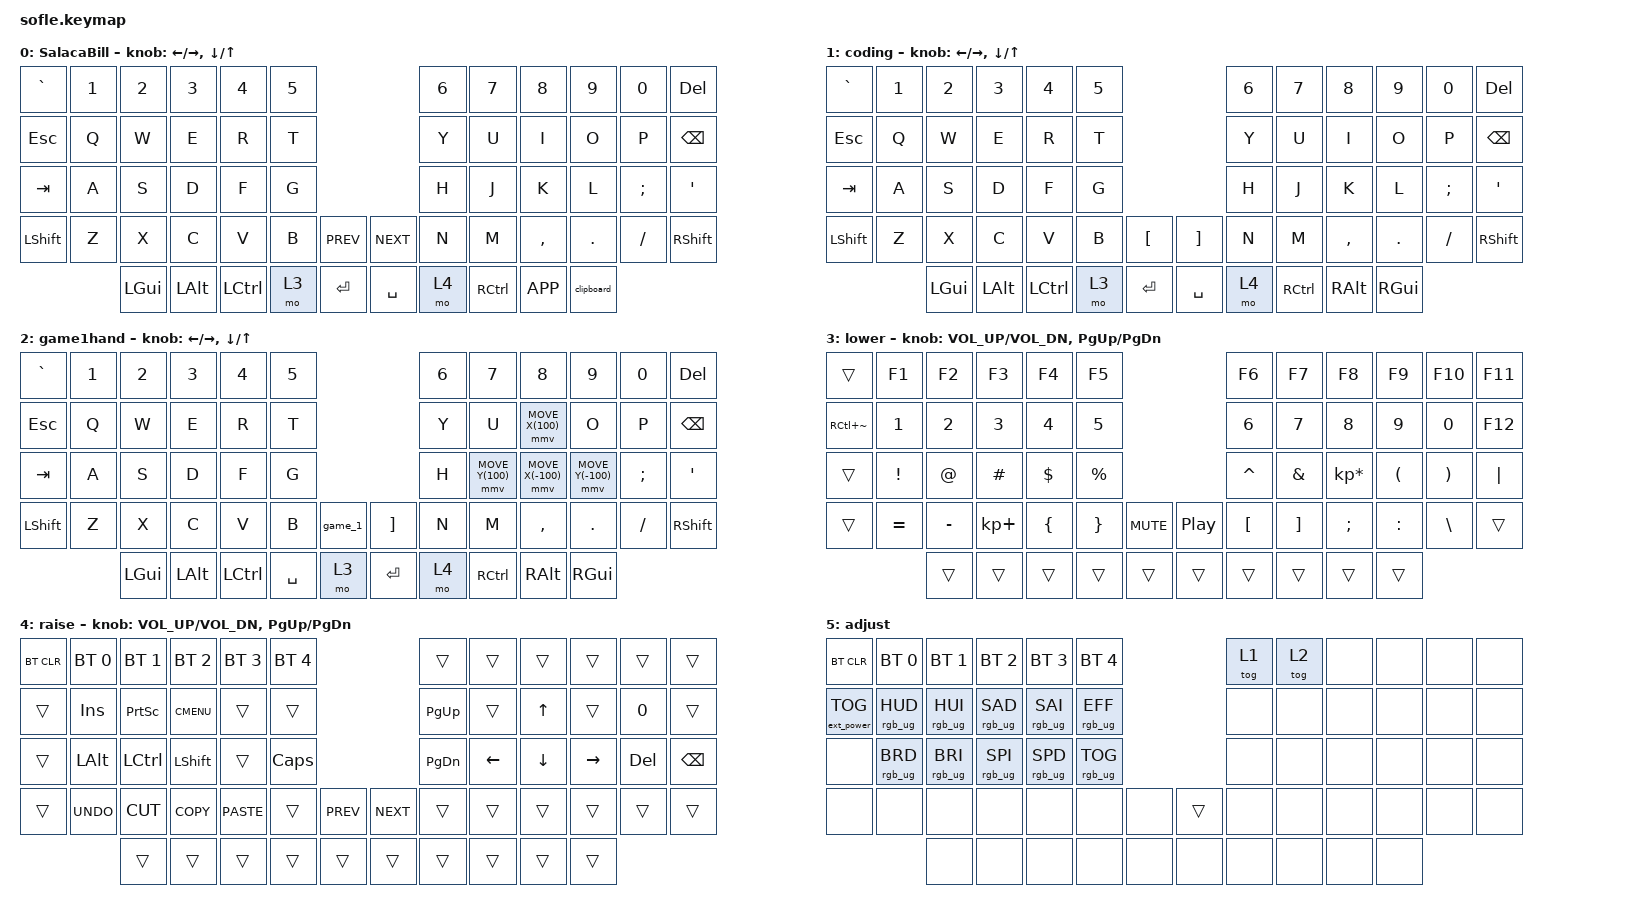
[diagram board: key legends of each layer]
/*
 * Copyright (c) 2020 The ZMK Contributors
 *
 * SPDX-License-Identifier: MIT
 */

#include <behaviors.dtsi>
#include <dt-bindings/zmk/bt.h>
#include <dt-bindings/zmk/ext_power.h>
#include <dt-bindings/zmk/keys.h>
#include <dt-bindings/zmk/pointing.h>
#include <dt-bindings/zmk/rgb.h>

#define BASE    0
#define LOWER   1
#define RAISE   2
#define ADJUST  3

&tog { toggle-mode = "flip"; };

/ {
    // Activate ADJUST layer by pressing raise and lower

    conditional_layers {
        compatible = "zmk,conditional-layers";

        adjust_layer {
            if-layers = <3 4>;
            then-layer = <5>;
        };
    };

    macros {
        game_1: game_1 {
            compatible = "zmk,behavior-macro";
            #binding-cells = <0>;
            bindings = <&kp ENTER &kp N &kp O &kp SPACE &kp A &kp G &kp E &kp ENTER>;
            label = "GAME_1";
        };

        clipboard: new_macro {
            compatible = "zmk,behavior-macro";
            #binding-cells = <0>;
            bindings = <&kp LG(V)>;
            label = "NEW_MACRO";
        };

        emote: emote {
            compatible = "zmk,behavior-macro";
            #binding-cells = <0>;
            bindings = <&kp LG(DOT)>;
            label = "EMOTE";
        };
    };

    combos {
        compatible = "zmk,combos";

        emote {
            bindings = <&emote>;
            key-positions = <36 59>;
            layers = <0>;
        };
    };

    keymap {
        compatible = "zmk,keymap";

        default_layer {
            label = "SalacaBill";

            // ------------------------------------------------------------------------------------------------------------
            // |   `   |  1  |  2  |  3   |  4   |  5   |                   |  6   |  7    |  8    |  9   |   0   |       |
            // |  ESC  |  Q  |  W  |  E   |  R   |  T   |                   |  Y   |  U    |  I    |  O   |   P   | BKSPC |
            // |  TAB  |  A  |  S  |  D   |  F   |  G   |                   |  H   |  J    |  K    |  L   |   ;   |   '   |
            // | SHIFT |  Z  |  X  |  C   |  V   |  B   |  MUTE  |  |       |  N   |  M    |  ,    |  .   |   /   | SHIFT |
            //               | GUI | ALT  | CTRL | LOWER|  ENTER |  | SPACE | RAISE| CTRL  | ALT   | GUI  |

            bindings = <
&kp GRAVE  &kp N1  &kp N2    &kp N3    &kp N4     &kp N5                            &kp N6  &kp N7     &kp N8     &kp N9      &kp N0    &kp DELETE
&kp ESC    &kp Q   &kp W     &kp E     &kp R      &kp T                             &kp Y   &kp U      &kp I      &kp O       &kp P     &kp BSPC
&kp TAB    &kp A   &kp S     &kp D     &kp F      &kp G                             &kp H   &kp J      &kp K      &kp L       &kp SEMI  &kp SQT
&kp LSHFT  &kp Z   &kp X     &kp C     &kp V      &kp B   &kp K_PREV    &kp K_NEXT  &kp N   &kp M      &kp COMMA  &kp DOT     &kp FSLH  &kp RSHFT
                   &kp LGUI  &kp LALT  &kp LCTRL  &mo 3   &kp RET       &kp SPACE   &mo 4   &kp RCTRL  &kp K_APP  &clipboard
            >;

            sensor-bindings = <&inc_dec_kp LEFT RIGHT &inc_dec_kp DOWN UP>;
        };

        layer_1 {
            label = "coding";
            bindings = <
&kp GRAVE  &kp N1  &kp N2    &kp N3    &kp N4     &kp N5                         &kp N6  &kp N7     &kp N8     &kp N9    &kp N0    &kp DELETE
&kp ESC    &kp Q   &kp W     &kp E     &kp R      &kp T                          &kp Y   &kp U      &kp I      &kp O     &kp P     &kp BSPC
&kp TAB    &kp A   &kp S     &kp D     &kp F      &kp G                          &kp H   &kp J      &kp K      &kp L     &kp SEMI  &kp SQT
&kp LSHFT  &kp Z   &kp X     &kp C     &kp V      &kp B   &kp LBKT    &kp RBKT   &kp N   &kp M      &kp COMMA  &kp DOT   &kp FSLH  &kp RSHFT
                   &kp LGUI  &kp LALT  &kp LCTRL  &mo 3   &kp RET     &kp SPACE  &mo 4   &kp RCTRL  &kp RALT   &kp RGUI
            >;

            sensor-bindings = <&inc_dec_kp LEFT RIGHT>, <&inc_dec_kp DOWN UP>;
        };

        layer_2 {
            label = "game1hand";
            bindings = <
&kp GRAVE  &kp N1  &kp N2    &kp N3    &kp N4     &kp N5                           &kp N6  &kp N7            &kp N8             &kp N9             &kp N0    &kp DELETE
&kp ESC    &kp Q   &kp W     &kp E     &kp R      &kp T                            &kp Y   &kp U             &mmv MOVE_X(100)   &kp O              &kp P     &kp BSPC
&kp TAB    &kp A   &kp S     &kp D     &kp F      &kp G                            &kp H   &mmv MOVE_Y(100)  &mmv MOVE_X(-100)  &mmv MOVE_Y(-100)  &kp SEMI  &kp SQT
&kp LSHFT  &kp Z   &kp X     &kp C     &kp V      &kp B      &game_1    &kp RBKT   &kp N   &kp M             &kp COMMA          &kp DOT            &kp FSLH  &kp RSHFT
                   &kp LGUI  &kp LALT  &kp LCTRL  &kp SPACE  &mo 3      &kp ENTER  &mo 4   &kp RCTRL         &kp RALT           &kp RGUI
            >;

            sensor-bindings = <&inc_dec_kp LEFT RIGHT>, <&inc_dec_kp DOWN UP>;
        };

        lower_layer {
            label = "lower";

            // TODO: Some binds are waiting for shifted keycode support.
            // ------------------------------------------------------------------------------------------------------------
            // |       |  F1 |  F2 |  F3  |  F4  |  F5  |                   |  F6  |  F7   |  F8   |  F9  |  F10  |  F11  |
            // |   `   |  1  |  2  |  3   |  4   |  5   |                   |  6   |  7    |  8    |  9   |   0   |  F12  |
            // |       |  !  |  @  |  #   |  $   |  %   |                   |  ^   |  &    |  *    |  (   |   )   |   |   |
            // |       |  =  |  -  |  +   |  {   |  }   |        |  |       |  [   |  ]    |  ;    |  :   |   \   |       |
            //               |     |      |      |      |        |  |       |      |       |       |      |

            bindings = <
&trans         &kp F1     &kp F2     &kp F3       &kp F4    &kp F5                             &kp F6     &kp F7    &kp F8           &kp F9     &kp F10   &kp F11
&kp RC(TILDE)  &kp N1     &kp N2     &kp N3       &kp N4    &kp N5                             &kp N6     &kp N7    &kp N8           &kp N9     &kp N0    &kp F12
&trans         &kp EXCL   &kp AT     &kp HASH     &kp DLLR  &kp PRCNT                          &kp CARET  &kp AMPS  &kp KP_MULTIPLY  &kp LPAR   &kp RPAR  &kp PIPE
&trans         &kp EQUAL  &kp MINUS  &kp KP_PLUS  &kp LBRC  &kp RBRC   &kp C_MUTE    &kp C_PP  &kp LBKT   &kp RBKT  &kp SEMI         &kp COLON  &kp BSLH  &trans
                          &trans     &trans       &trans    &trans     &trans        &trans    &trans     &trans    &trans           &trans
            >;

            sensor-bindings = <&inc_dec_kp C_VOL_UP C_VOL_DN &inc_dec_kp PG_UP PG_DN>;
        };

        raise_layer {
            label = "raise";

            // ------------------------------------------------------------------------------------------------------------
            // | BTCLR | BT1  | BT2  |  BT3  |  BT4  |  BT5 |                |      |      |       |      |       |       |
            // |       | INS  | PSCR | GUI   |       |      |                | PGUP |      |   ^   |      |       |       |
            // |       | ALT  | CTRL | SHIFT |       | CAPS |                | PGDN |   <- |   v   |  ->  |  DEL  | BKSPC |
            // |       | UNDO | CUT  | COPY  | PASTE |      |      |  |      |      |      |       |      |       |       |
            //                |      |       |       |      |      |  |      |      |      |       |      |

            bindings = <
&bt BT_CLR  &bt BT_SEL 0  &bt BT_SEL 1  &bt BT_SEL 2  &bt BT_SEL 3  &bt BT_SEL 4                            &trans     &trans    &trans    &trans     &trans   &trans
&trans      &kp INS       &kp PSCRN     &kp K_CMENU   &trans        &trans                                  &kp PG_UP  &trans    &kp UP    &trans     &kp N0   &trans
&trans      &kp LALT      &kp LCTRL     &kp LSHFT     &trans        &kp CLCK                                &kp PG_DN  &kp LEFT  &kp DOWN  &kp RIGHT  &kp DEL  &kp BSPC
&trans      &kp K_UNDO    &kp K_CUT     &kp K_COPY    &kp K_PASTE   &trans        &kp C_PREV    &kp C_NEXT  &trans     &trans    &trans    &trans     &trans   &trans
                          &trans        &trans        &trans        &trans        &trans        &trans      &trans     &trans    &trans    &trans
            >;

            sensor-bindings = <&inc_dec_kp C_VOL_UP C_VOL_DN &inc_dec_kp PG_UP PG_DN>;
        };

        adjust_layer {
            label = "adjust";

            // ----------------------------------------------------------------------------------------------------------------------------
            // | BTCLR  |  BT1    |  BT2    |   BT3   |   BT4   |   BT5   |                  |      |      |       |      |       |       |
            // | EXTPWR | RGB_HUD | RGB_HUI | RGB_SAD | RGB_SAI | RGB_EFF |                  |      |      |       |      |       |       |
            // |        | RGB_BRD | RGB_BRI | RGB_SPI | RGP_SPD |         |                  |      |      |       |      |       |       |
            // |        |         |         |         |         |         | RGB_TOG | |      |      |      |       |      |       |       |
            //                    |         |         |         |         |         | |      |      |      |       |      |

            bindings = <
&bt BT_CLR         &bt BT_SEL 0     &bt BT_SEL 1     &bt BT_SEL 2     &bt BT_SEL 3     &bt BT_SEL 4                      &tog 1  &tog 2  &none  &none  &none  &none
&ext_power EP_TOG  &rgb_ug RGB_HUD  &rgb_ug RGB_HUI  &rgb_ug RGB_SAD  &rgb_ug RGB_SAI  &rgb_ug RGB_EFF                   &none   &none   &none  &none  &none  &none
&none              &rgb_ug RGB_BRD  &rgb_ug RGB_BRI  &rgb_ug RGB_SPI  &rgb_ug RGB_SPD  &rgb_ug RGB_TOG                   &none   &none   &none  &none  &none  &none
&none              &none            &none            &none            &none            &none            &none    &trans  &none   &none   &none  &none  &none  &none
                                    &none            &none            &none            &none            &none    &none   &none   &none   &none  &none
            >;
        };
    };
};
